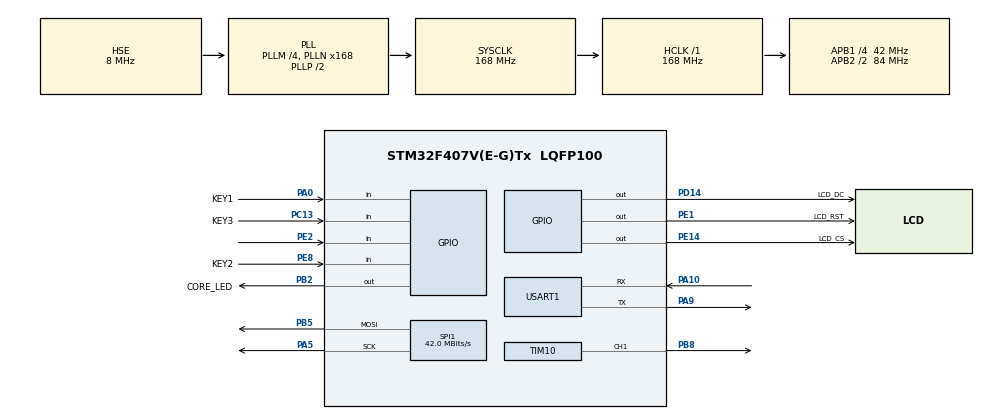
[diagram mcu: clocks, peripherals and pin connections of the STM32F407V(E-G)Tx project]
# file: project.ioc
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Dma.Request0=SPI1_TX
Dma.SPI1_TX.0.Direction=DMA_MEMORY_TO_PERIPH
Dma.SPI1_TX.0.FIFOMode=DMA_FIFOMODE_DISABLE
Dma.SPI1_TX.0.Instance=DMA2_Stream3
Dma.SPI1_TX.0.MemDataAlignment=DMA_MDATAALIGN_BYTE
Dma.SPI1_TX.0.MemInc=DMA_MINC_ENABLE
Dma.SPI1_TX.0.Mode=DMA_NORMAL
Dma.SPI1_TX.0.PeriphDataAlignment=DMA_PDATAALIGN_BYTE
Dma.SPI1_TX.0.PeriphInc=DMA_PINC_DISABLE
Dma.SPI1_TX.0.Priority=DMA_PRIORITY_LOW
Mcu.Family=STM32F4
Mcu.Name=STM32F407V(E-G)Tx
Mcu.Package=LQFP100
NVIC.DMA2_Stream3_IRQn=true\:0\:0\:false\:false\:true\:false\:true\:true
NVIC.PriorityGroup=NVIC_PRIORITYGROUP_4
PA0-WKUP.GPIO_Label=KEY1
PA0-WKUP.Signal=GPIO_Input
PA10.Mode=Asynchronous
PA10.Signal=USART1_RX
PA13.Mode=Trace_Asynchronous_SW
PA13.Signal=SYS_JTMS-SWDIO
PA14.Mode=Trace_Asynchronous_SW
PA14.Signal=SYS_JTCK-SWCLK
PA5.Mode=TX_Only_Simplex_Unidirect_Master
PA5.Signal=SPI1_SCK
PA9.Mode=Asynchronous
PA9.Signal=USART1_TX
PB2.GPIO_Label=CORE_LED
PB2.Signal=GPIO_Output
PB3.Mode=Trace_Asynchronous_SW
PB3.Signal=SYS_JTDO-SWO
PB5.Mode=TX_Only_Simplex_Unidirect_Master
PB5.Signal=SPI1_MOSI
PB8.Signal=S_TIM10_CH1
PC13-ANTI_TAMP.GPIO_Label=KEY3
PC13-ANTI_TAMP.Signal=GPIO_Input
PD14.GPIO_Label=LCD_DC
PD14.Signal=GPIO_Output
PE1.GPIO_Label=LCD_RST
PE1.GPIO_PuPd=GPIO_PULLUP
PE1.PinState=GPIO_PIN_SET
PE1.Signal=GPIO_Output
PE14.GPIO_Label=LCD_CS
PE14.Signal=GPIO_Output
PE2.Signal=GPIO_Input
PE8.GPIO_Label=KEY2
PE8.Signal=GPIO_Input
PH0-OSC_IN.Mode=HSE-External-Oscillator
PH0-OSC_IN.Signal=RCC_OSC_IN
PH1-OSC_OUT.Mode=HSE-External-Oscillator
PH1-OSC_OUT.Signal=RCC_OSC_OUT
ProjectManager.HeapSize=0x200
ProjectManager.StackSize=0x4000
ProjectManager.TargetToolchain=MDK-ARM V5.32
RCC.48MHZClocksFreq_Value=84000000
RCC.AHBFreq_Value=168000000
RCC.APB1CLKDivider=RCC_HCLK_DIV4
RCC.APB1Freq_Value=42000000
RCC.APB1TimFreq_Value=84000000
RCC.APB2CLKDivider=RCC_HCLK_DIV2
RCC.APB2Freq_Value=84000000
RCC.APB2TimFreq_Value=168000000
RCC.CortexFreq_Value=168000000
RCC.HCLKFreq_Value=168000000
RCC.HSE_VALUE=8000000
RCC.HSI_VALUE=16000000
RCC.LSE_VALUE=32768
RCC.PLLM=4
RCC.PLLN=168
RCC.PLLSourceVirtual=RCC_PLLSOURCE_HSE
RCC.SYSCLKFreq_VALUE=168000000
RCC.SYSCLKSource=RCC_SYSCLKSOURCE_PLLCLK
RCC.VCOOutputFreq_Value=336000000
SH.S_TIM10_CH1.0=TIM10_CH1,PWM Generation1 CH1
SPI1.CLKPhase=SPI_PHASE_2EDGE
SPI1.CLKPolarity=SPI_POLARITY_HIGH
SPI1.CalculateBaudRate=42.0 MBits/s
SPI1.Direction=SPI_DIRECTION_2LINES
SPI1.Mode=SPI_MODE_MASTER
SPI1.VirtualType=VM_MASTER
TIM10.Channel=TIM_CHANNEL_1
USART1.VirtualMode=VM_ASYNC
VP_TIM10_VS_ClockSourceINT.Mode=Enable_Timer
board=custom

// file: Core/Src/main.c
/* USER CODE BEGIN Header */
/**
  ******************************************************************************
  * @file           : main.c
  * @brief          : Main program body
  ******************************************************************************
  * @attention
  *
  * Copyright (c) 2025 STMicroelectronics.
  * All rights reserved.
  *
  * This software is licensed under terms that can be found in the LICENSE file
  * in the root directory of this software component.
  * If no LICENSE file comes with this software, it is provided AS-IS.
  * test the second commit
  * test the third commit ,then push to remote
  ******************************************************************************
  */
/* USER CODE END Header */
#include "main.h"

/* USER CODE BEGIN Includes */

#if defined(__ARMCC_VERSION) && (__ARMCC_VERSION >= 6010050)
    // 明确是 AC6 编译器
    // 处理 AC6 可能需要特定操作的地方，或者包含针对 AC6的头文件
    // #include "retarget_ac6.h" // 如果有的话
#elif defined(__CC_ARM) || (defined(__ARMCC_VERSION) && (__ARMCC_VERSION < 6010050))
    // 明确是 AC5 编译器
    // AC5 可能不需要包含 retarget.h，或者有不同处理
#elif defined(__GNUC__)
    // 是GCC编译器（比如gcc-arm-none-eabi）
    #include "retarget.h"
#endif

#if !defined(__MICROLIB)
//不使用微库的话就需要添加下面的函数
#include <stdio.h>
FILE __stdout;

//定义_sys_exit()以避免使用半主机模式
void _sys_exit(int x)
{
	x = x;
}
#endif

#include "st7789.h"

#define LOG_TAG "MAIN"
#include "lckfb_log_port.h"

#include "../../LIB/LVGL-8.3/lvgl.h"
#include "../../LIB/LVGL-8.3/examples/porting/lv_port_disp.h"
#include "../../LIB/LVGL-8.3/demos/lv_demos.h"

#include "ui_test.h"
#include "soft_i2c.h"
#include "ap3216c.h"
#include "ft6336_drv.h"

/* USER CODE END Includes */

SPI_HandleTypeDef hspi1;
DMA_HandleTypeDef hdma_spi1_tx;

TIM_HandleTypeDef htim10;

UART_HandleTypeDef huart1;

void SystemClock_Config(void);
static void MX_GPIO_Init(void);
static void MX_DMA_Init(void);
static void MX_USART1_UART_Init(void);
static void MX_SPI1_Init(void);
static void MX_TIM10_Init(void);
/* USER CODE BEGIN PFP */
extern void lv_port_indev_init(void);
/* USER CODE END PFP */

/* USER CODE BEGIN 0 */

uint32_t lckfb=0;

bool get_physical_key_state(int index) {
    GPIO_PinState state = GPIO_PIN_RESET;

    switch(index) {
        case 0: // PA0 KEY1
            state = HAL_GPIO_ReadPin(GPIOA, GPIO_PIN_0);
            break;
        case 1: // PE8 KEY2
            state = HAL_GPIO_ReadPin(GPIOE, GPIO_PIN_8);
            break;
        case 2: // PC13 KEY3
            state = HAL_GPIO_ReadPin(GPIOC, GPIO_PIN_13);
            break;
        default:
            return false;
    }

    return (state == GPIO_PIN_SET);
}

/* USER CODE END 0 */

int main(void)
{

  /* MCU Configuration--------------------------------------------------------*/

  /* Reset of all peripherals, Initializes the Flash interface and the Systick. */
  HAL_Init();

  /* Configure the system clock */
  SystemClock_Config();

  /* Initialize all configured peripherals */
  MX_GPIO_Init();
  MX_DMA_Init();
  MX_USART1_UART_Init();
  MX_SPI1_Init();
  MX_TIM10_Init();
  /* USER CODE BEGIN 2 */

#if defined(__ARMCC_VERSION) && (__ARMCC_VERSION >= 6010050)
		// 明确是 AC6 编译器
		// 处理 AC6 可能需要特定操作的地方，或者包含针对 AC6的头文件
		// #include "retarget_ac6.h" // 如果有的话
#elif defined(__CC_ARM) || (defined(__ARMCC_VERSION) && (__ARMCC_VERSION < 6010050))
		// 明确是 AC5 编译器
		// AC5 可能不需要包含 retarget.h，或者有不同处理
#elif defined(__GNUC__)
		// 是GCC编译器（比如gcc-arm-none-eabi）
		RetargetInit(&huart1); // 初始化重定向函数
#endif

  log_port_init();
  log_set_filter(LOG_LVL_DEBUG); // 设置日志级别为INFO
  LOG_INFO("System started");

  soft_i2c_init(&soft_i2c_bus1);
  soft_i2c_init(&soft_i2c_bus2);

  /* 2) 扫描总线 */
  LOG_INFO("=== 扫描 I2C1 (PB6/PB7) ===");
  soft_i2c_scan(&soft_i2c_bus1);

  LOG_INFO("=== 扫描 I2C2 (PD10/PE13) ===");
  soft_i2c_scan(&soft_i2c_bus2);

	st7789_init();
	// st7789_demo();
  // HAL_Delay(1000);
	lv_init();
	lv_port_disp_init();
  lv_port_indev_init();

	ap3216c_device_init(&soft_i2c_bus2);

  ui_test_init();

  uint32_t last_sensor_tick = 0;
  uint16_t als_val = 0;
  uint16_t ps_val = 0;

  /* USER CODE END 2 */

  /* Infinite loop */
  while (1)
  {

    /* USER CODE BEGIN 3 */

		lv_task_handler();

    lv_indev_t * indev = lv_indev_get_next(NULL);
    if(indev) {
      lv_point_t p;
      lv_indev_get_point(indev, &p);
      bool is_down = (indev->proc.state == LV_INDEV_STATE_PRESSED);
      ui_update_touch_info(p.x, p.y, is_down);
    }

        /* -----------------------------------------------
        任务1：传感器读取 (每200ms一次，避免I2C占用过高)
        ----------------------------------------------- */
    if((HAL_GetTick() - last_sensor_tick) > 200)
    {
        // 使用你提供的驱动接口分别读取
        // 注意：你提供的函数出错返回非0，这里简单忽略错误处理
        ap3216c_read_als(&soft_i2c_bus2, &als_val);
        ap3216c_read_ps(&soft_i2c_bus2, &ps_val);

        // 更新 UI
        ui_update_sensors(als_val, ps_val);

        last_sensor_tick = HAL_GetTick();
    }

    /* -----------------------------------------------
        任务2：物理按键检测 (全速轮询，保证响应快)
        ----------------------------------------------- */
    for(int i=0; i<3; i++) {
        bool is_pressed = get_physical_key_state(i);
        ui_update_physical_btn_state(i, is_pressed);
    }

  }
  /* USER CODE END 3 */
}

void SystemClock_Config(void)
{
  RCC_OscInitTypeDef RCC_OscInitStruct = {0};
  RCC_ClkInitTypeDef RCC_ClkInitStruct = {0};

  /** Configure the main internal regulator output voltage
  */
  __HAL_RCC_PWR_CLK_ENABLE();
  __HAL_PWR_VOLTAGESCALING_CONFIG(PWR_REGULATOR_VOLTAGE_SCALE1);

  /** Initializes the RCC Oscillators according to the specified parameters
  * in the RCC_OscInitTypeDef structure.
  */
  RCC_OscInitStruct.OscillatorType = RCC_OSCILLATORTYPE_HSE;
  RCC_OscInitStruct.HSEState = RCC_HSE_ON;
  RCC_OscInitStruct.PLL.PLLState = RCC_PLL_ON;
  RCC_OscInitStruct.PLL.PLLSource = RCC_PLLSOURCE_HSE;
  RCC_OscInitStruct.PLL.PLLM = 4;
  RCC_OscInitStruct.PLL.PLLN = 168;
  RCC_OscInitStruct.PLL.PLLP = RCC_PLLP_DIV2;
  RCC_OscInitStruct.PLL.PLLQ = 4;
  if (HAL_RCC_OscConfig(&RCC_OscInitStruct) != HAL_OK)
  {
    Error_Handler();
  }

  /** Initializes the CPU, AHB and APB buses clocks
  */
  RCC_ClkInitStruct.ClockType = RCC_CLOCKTYPE_HCLK|RCC_CLOCKTYPE_SYSCLK
                              |RCC_CLOCKTYPE_PCLK1|RCC_CLOCKTYPE_PCLK2;
  RCC_ClkInitStruct.SYSCLKSource = RCC_SYSCLKSOURCE_PLLCLK;
  RCC_ClkInitStruct.AHBCLKDivider = RCC_SYSCLK_DIV1;
  RCC_ClkInitStruct.APB1CLKDivider = RCC_HCLK_DIV4;
  RCC_ClkInitStruct.APB2CLKDivider = RCC_HCLK_DIV2;

  if (HAL_RCC_ClockConfig(&RCC_ClkInitStruct, FLASH_LATENCY_5) != HAL_OK)
  {
    Error_Handler();
  }
}

static void MX_SPI1_Init(void)
{

  /* SPI1 parameter configuration*/
  hspi1.Instance = SPI1;
  hspi1.Init.Mode = SPI_MODE_MASTER;
  hspi1.Init.Direction = SPI_DIRECTION_2LINES;
  hspi1.Init.DataSize = SPI_DATASIZE_8BIT;
  hspi1.Init.CLKPolarity = SPI_POLARITY_HIGH;
  hspi1.Init.CLKPhase = SPI_PHASE_2EDGE;
  hspi1.Init.NSS = SPI_NSS_SOFT;
  hspi1.Init.BaudRatePrescaler = SPI_BAUDRATEPRESCALER_2;
  hspi1.Init.FirstBit = SPI_FIRSTBIT_MSB;
  hspi1.Init.TIMode = SPI_TIMODE_DISABLE;
  hspi1.Init.CRCCalculation = SPI_CRCCALCULATION_DISABLE;
  hspi1.Init.CRCPolynomial = 10;
  if (HAL_SPI_Init(&hspi1) != HAL_OK)
  {
    Error_Handler();
  }

}

static void MX_TIM10_Init(void)
{

  TIM_OC_InitTypeDef sConfigOC = {0};

  htim10.Instance = TIM10;
  htim10.Init.Prescaler = 0;
  htim10.Init.CounterMode = TIM_COUNTERMODE_UP;
  htim10.Init.Period = 65535;
  htim10.Init.ClockDivision = TIM_CLOCKDIVISION_DIV1;
  htim10.Init.AutoReloadPreload = TIM_AUTORELOAD_PRELOAD_DISABLE;
  if (HAL_TIM_Base_Init(&htim10) != HAL_OK)
  {
    Error_Handler();
  }
  if (HAL_TIM_PWM_Init(&htim10) != HAL_OK)
  {
    Error_Handler();
  }
  sConfigOC.OCMode = TIM_OCMODE_PWM1;
  sConfigOC.Pulse = 0;
  sConfigOC.OCPolarity = TIM_OCPOLARITY_HIGH;
  sConfigOC.OCFastMode = TIM_OCFAST_DISABLE;
  if (HAL_TIM_PWM_ConfigChannel(&htim10, &sConfigOC, TIM_CHANNEL_1) != HAL_OK)
  {
    Error_Handler();
  }
  HAL_TIM_MspPostInit(&htim10);

}

static void MX_USART1_UART_Init(void)
{

  huart1.Instance = USART1;
  huart1.Init.BaudRate = 115200;
  huart1.Init.WordLength = UART_WORDLENGTH_8B;
  huart1.Init.StopBits = UART_STOPBITS_1;
  huart1.Init.Parity = UART_PARITY_NONE;
  huart1.Init.Mode = UART_MODE_TX_RX;
  huart1.Init.HwFlowCtl = UART_HWCONTROL_NONE;
  huart1.Init.OverSampling = UART_OVERSAMPLING_16;
  if (HAL_UART_Init(&huart1) != HAL_OK)
  {
    Error_Handler();
  }

}

static void MX_DMA_Init(void)
{

  /* DMA controller clock enable */
  __HAL_RCC_DMA2_CLK_ENABLE();

  /* DMA interrupt init */
  /* DMA2_Stream3_IRQn interrupt configuration */
  HAL_NVIC_SetPriority(DMA2_Stream3_IRQn, 0, 0);
  HAL_NVIC_EnableIRQ(DMA2_Stream3_IRQn);

}

static void MX_GPIO_Init(void)
{
  GPIO_InitTypeDef GPIO_InitStruct = {0};

  /* GPIO Ports Clock Enable */
  __HAL_RCC_GPIOE_CLK_ENABLE();
  __HAL_RCC_GPIOC_CLK_ENABLE();
  __HAL_RCC_GPIOH_CLK_ENABLE();
  __HAL_RCC_GPIOA_CLK_ENABLE();
  __HAL_RCC_GPIOB_CLK_ENABLE();
  __HAL_RCC_GPIOD_CLK_ENABLE();

  /*Configure GPIO pin Output Level */
  HAL_GPIO_WritePin(CORE_LED_GPIO_Port, CORE_LED_Pin, GPIO_PIN_RESET);

  /*Configure GPIO pin Output Level */
  HAL_GPIO_WritePin(LCD_CS_GPIO_Port, LCD_CS_Pin, GPIO_PIN_RESET);

  /*Configure GPIO pin Output Level */
  HAL_GPIO_WritePin(LCD_DC_GPIO_Port, LCD_DC_Pin, GPIO_PIN_RESET);

  /*Configure GPIO pin Output Level */
  HAL_GPIO_WritePin(LCD_RST_GPIO_Port, LCD_RST_Pin, GPIO_PIN_SET);

  /*Configure GPIO pins : PE2 KEY2_Pin */
  GPIO_InitStruct.Pin = GPIO_PIN_2|KEY2_Pin;
  GPIO_InitStruct.Mode = GPIO_MODE_INPUT;
  GPIO_InitStruct.Pull = GPIO_NOPULL;
  HAL_GPIO_Init(GPIOE, &GPIO_InitStruct);

  /*Configure GPIO pin : KEY3_Pin */
  GPIO_InitStruct.Pin = KEY3_Pin;
  GPIO_InitStruct.Mode = GPIO_MODE_INPUT;
  GPIO_InitStruct.Pull = GPIO_NOPULL;
  HAL_GPIO_Init(KEY3_GPIO_Port, &GPIO_InitStruct);

  /*Configure GPIO pin : KEY1_Pin */
  GPIO_InitStruct.Pin = KEY1_Pin;
  GPIO_InitStruct.Mode = GPIO_MODE_INPUT;
  GPIO_InitStruct.Pull = GPIO_NOPULL;
  HAL_GPIO_Init(KEY1_GPIO_Port, &GPIO_InitStruct);

  /*Configure GPIO pin : CORE_LED_Pin */
  GPIO_InitStruct.Pin = CORE_LED_Pin;
  GPIO_InitStruct.Mode = GPIO_MODE_OUTPUT_PP;
  GPIO_InitStruct.Pull = GPIO_NOPULL;
  GPIO_InitStruct.Speed = GPIO_SPEED_FREQ_LOW;
  HAL_GPIO_Init(CORE_LED_GPIO_Port, &GPIO_InitStruct);

  /*Configure GPIO pin : LCD_CS_Pin */
  GPIO_InitStruct.Pin = LCD_CS_Pin;
  GPIO_InitStruct.Mode = GPIO_MODE_OUTPUT_PP;
  GPIO_InitStruct.Pull = GPIO_NOPULL;
  GPIO_InitStruct.Speed = GPIO_SPEED_FREQ_LOW;
  HAL_GPIO_Init(LCD_CS_GPIO_Port, &GPIO_InitStruct);

  /*Configure GPIO pin : LCD_DC_Pin */
  GPIO_InitStruct.Pin = LCD_DC_Pin;
  GPIO_InitStruct.Mode = GPIO_MODE_OUTPUT_PP;
  GPIO_InitStruct.Pull = GPIO_NOPULL;
  GPIO_InitStruct.Speed = GPIO_SPEED_FREQ_LOW;
  HAL_GPIO_Init(LCD_DC_GPIO_Port, &GPIO_InitStruct);

  /*Configure GPIO pin : LCD_RST_Pin */
  GPIO_InitStruct.Pin = LCD_RST_Pin;
  GPIO_InitStruct.Mode = GPIO_MODE_OUTPUT_PP;
  GPIO_InitStruct.Pull = GPIO_PULLUP;
  GPIO_InitStruct.Speed = GPIO_SPEED_FREQ_LOW;
  HAL_GPIO_Init(LCD_RST_GPIO_Port, &GPIO_InitStruct);

}

void Error_Handler(void)
{
  __disable_irq();
  while (1)
  {
  }
}
